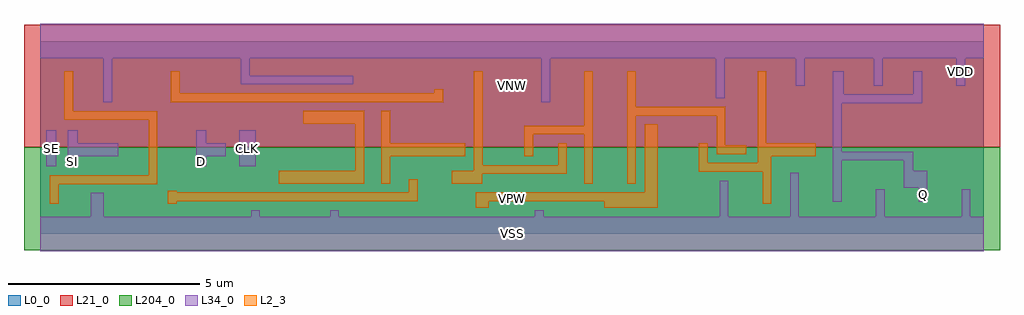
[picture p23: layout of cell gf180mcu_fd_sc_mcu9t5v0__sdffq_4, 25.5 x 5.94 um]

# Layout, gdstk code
import gdstk
lib = gdstk.Library(unit=1e-6, precision=1e-09)
def R(c, l, rs):  # rectangles x0, y0, x1, y1
    for r in rs: c.add(gdstk.rectangle(r[:2], r[2:], *l))
L0_0 = (0, 0)
L2_3 = (2, 3)
L21_0 = (21, 0)
L34_0 = (34, 0)
L204_0 = (204, 0)

gf180mcu_fd_sc_mcu9t5v0_ = lib.new_cell('gf180mcu_fd_sc_mcu9t5v0__sdffq_4')
R(gf180mcu_fd_sc_mcu9t5v0_, L0_0, [(0,0,24.64,5.04)])
R(gf180mcu_fd_sc_mcu9t5v0_, L2_3, [(11.37,0.69,11.71,0.855), (14.73,0.69,16.125,0.855), (0.245,0.79,0.475,1.305), (3.325,0.79,3.555,0.855), (18.865,0.79,19.095,1.625), (3.325,0.855,9.855,1.085), (11.37,0.855,16.125,1.085), (3.325,1.085,3.555,1.13), (9.625,1.085,9.855,1.435), (15.785,1.085,16.125,2.86), (0.245,1.305,3.055,1.535), (6.225,1.315,8.455,1.655), (8.905,1.315,9.135,2.03), (10.745,1.315,11.54,1.57), (14.205,1.315,14.435,2.6), (15.325,1.315,15.555,3.09), (2.825,1.535,3.055,2.98), (10.745,1.57,13.755,1.655), (17.205,1.625,19.095,1.855), (8.225,1.655,8.455,2.875), (11.325,1.655,13.755,1.8), (11.325,1.8,11.555,4.25), (13.525,1.8,13.755,2.37), (17.205,1.855,17.435,2.37), (18.735,1.855,19.095,2.03), (8.905,2.03,11.095,2.37), (12.645,2.03,12.875,2.6), (18.735,2.03,20.255,2.37), (17.665,2.085,18.44,2.315), (17.665,2.315,17.895,3.09), (8.905,2.37,9.135,3.215), (18.735,2.37,18.965,4.25), (12.645,2.6,14.435,2.83), (14.205,2.83,14.435,4.25), (6.865,2.875,8.455,3.215), (0.625,2.98,3.055,3.21), (15.325,3.09,17.895,3.32), (0.625,3.21,0.855,4.25), (15.325,3.32,15.555,4.25), (3.405,3.44,3.635,3.445), (3.405,3.445,10.52,3.675), (3.405,3.675,3.635,4.25), (10.29,3.675,10.52,3.785)])
R(gf180mcu_fd_sc_mcu9t5v0_, L21_0, [(-0.43,2.265,25.07,5.47)])
R(gf180mcu_fd_sc_mcu9t5v0_, L34_0, [(0,-0.45,24.64,0.45), (1.31,0.45,1.65,1.075), (5.505,0.45,5.735,0.625), (7.565,0.45,7.795,0.625), (12.92,0.45,13.15,0.625), (17.745,0.45,17.975,1.395), (19.585,0.45,19.815,1.6), (21.825,0.45,22.055,1.165), (24.065,0.45,24.295,1.165), (20.705,0.845,20.935,1.92), (22.945,0.845,23.175,1.21), (22.55,1.21,23.175,1.655), (22.55,1.655,22.81,1.92), (0.15,1.77,0.415,2.71), (0.71,1.77,0.97,2.03), (4.07,1.77,4.33,2.03), (5.19,1.77,5.625,2.71), (20.705,1.92,22.81,2.15), (0.71,2.03,2.035,2.37), (4.07,2.03,4.835,2.37), (20.705,2.15,20.935,3.415), (0.71,2.37,0.97,2.71), (4.07,2.37,4.33,2.71), (20.705,3.415,23.035,3.645), (1.645,3.44,1.875,4.59), (13.085,3.44,13.315,4.59), (17.645,3.55,17.875,4.59), (20.705,3.645,20.985,4.25), (22.805,3.645,23.035,4.25), (19.735,3.875,19.965,4.59), (21.775,3.875,22.005,4.59), (23.93,3.875,24.16,4.59), (5.235,3.905,8.17,4.135), (5.235,4.135,5.465,4.59), (0,4.59,24.64,5.49)])
R(gf180mcu_fd_sc_mcu9t5v0_, L204_0, [(-0.43,-0.43,25.07,2.265)])
gf180mcu_fd_sc_mcu9t5v0_.add(gdstk.Label('D', (4.2,1.9), layer=34, texttype=10))
gf180mcu_fd_sc_mcu9t5v0_.add(gdstk.Label('SE', (0.282,2.24), layer=34, texttype=10))
gf180mcu_fd_sc_mcu9t5v0_.add(gdstk.Label('SI', (0.84,1.9), layer=34, texttype=10))
gf180mcu_fd_sc_mcu9t5v0_.add(gdstk.Label('CLK', (5.407,2.24), layer=34, texttype=10))
gf180mcu_fd_sc_mcu9t5v0_.add(gdstk.Label('Q', (23.06,1.027), layer=34, texttype=10))
gf180mcu_fd_sc_mcu9t5v0_.add(gdstk.Label('VDD', (24.045,4.232), layer=34, texttype=10))
gf180mcu_fd_sc_mcu9t5v0_.add(gdstk.Label('VSS', (12.32,0), layer=34, texttype=10))
gf180mcu_fd_sc_mcu9t5v0_.add(gdstk.Label('VNW', (12.32,3.867), layer=3, texttype=1))
gf180mcu_fd_sc_mcu9t5v0_.add(gdstk.Label('VPW', (12.32,0.917), layer=4, texttype=1))

lib.write_gds('gf180mcu_fd_sc_mcu9t5v0__sdffq_4.gds')
